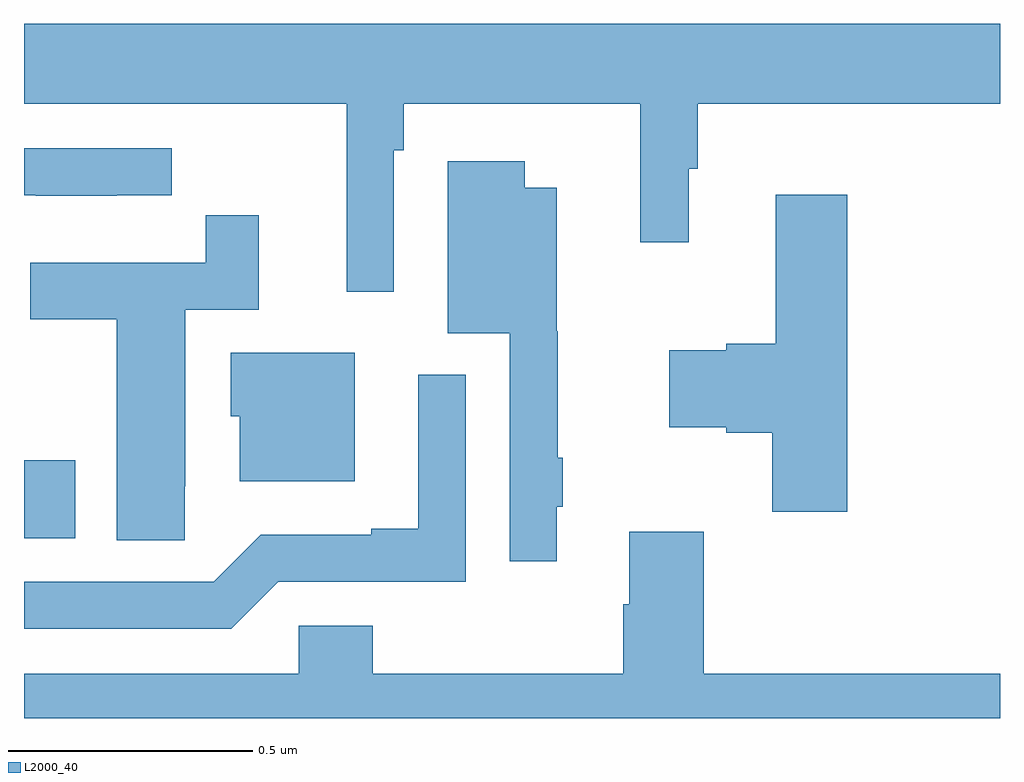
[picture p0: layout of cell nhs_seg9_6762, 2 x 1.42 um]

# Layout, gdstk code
import gdstk
lib = gdstk.Library(unit=1e-6, precision=1e-09)
def R(c, l, rs):  # rectangles x0, y0, x1, y1
    for r in rs: c.add(gdstk.rectangle(r[:2], r[2:], *l))
def P(c, l, *ps):  # polygons
    for p in ps: c.add(gdstk.Polygon(p, *l))
L2000_40 = (2000, 40)

nhs_seg9_6762 = lib.new_cell('nhs_seg9_6762')
R(nhs_seg9_6762, L2000_40, [(196,1188.869,196.105,1189.029)])
P(nhs_seg9_6762, L2000_40, [(196.758,1189.664),(196.778,1189.664),(196.778,1189.76),(197.263,1189.76),(197.263,1189.476),(197.362,1189.476),(197.362,1189.626),(197.381,1189.626),(197.381,1189.76),(198,1189.76),(198,1189.924),(196,1189.924),(196,1189.76),(196.661,1189.76),(196.661,1189.374),(196.758,1189.374)],
  [(196.19,1189.572),(196.303,1189.572),(196.303,1189.668),(196,1189.668),(196,1189.572),(196.024,1189.572),(196.024,1189.571),(196.19,1189.571)],
  [(197.092,1188.934),(197.104,1188.934),(197.104,1189.034),(197.094,1189.034),(197.094,1189.293),(197.092,1189.293),(197.092,1189.588),(197.026,1189.588),(197.026,1189.642),(196.868,1189.642),(196.868,1189.289),(196.995,1189.289),(196.995,1188.822),(197.092,1188.822)],
  [(197.687,1189.573),(197.54,1189.573),(197.54,1189.268),(197.439,1189.268),(197.439,1189.255),(197.322,1189.255),(197.322,1189.097),(197.439,1189.097),(197.439,1189.085),(197.533,1189.085),(197.533,1188.924),(197.687,1188.924)],
  [(196.329,1188.976),(196.33,1188.976),(196.33,1189.338),(196.481,1189.338),(196.481,1189.531),(196.372,1189.531),(196.372,1189.434),(196.013,1189.434),(196.013,1189.318),(196.19,1189.318),(196.19,1188.865),(196.329,1188.865)],
  [(196.678,1189.249),(196.424,1189.249),(196.424,1189.119),(196.442,1189.119),(196.442,1188.986),(196.678,1188.986)],
  [(196.521,1188.78),(196.905,1188.78),(196.905,1189.204),(196.808,1189.204),(196.808,1188.889),(196.712,1188.889),(196.712,1188.876),(196.485,1188.876),(196.389,1188.78),(196,1188.78),(196,1188.684),(196.425,1188.684)],
  [(198,1188.592),(197.393,1188.592),(197.393,1188.883),(197.24,1188.883),(197.24,1188.734),(197.228,1188.734),(197.228,1188.592),(196.715,1188.592),(196.715,1188.69),(196.563,1188.69),(196.563,1188.592),(196,1188.592),(196,1188.5),(198,1188.5)])

lib.write_gds('nhs_seg9_6762.gds')
